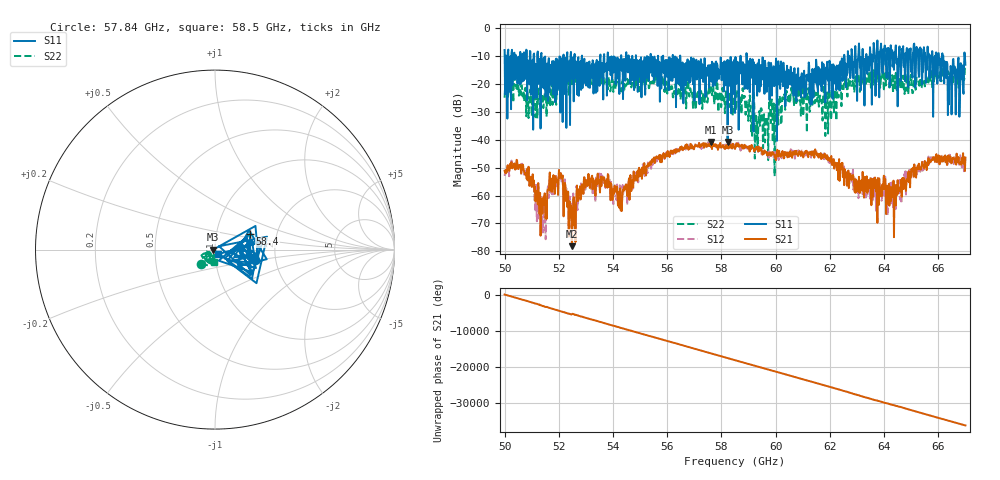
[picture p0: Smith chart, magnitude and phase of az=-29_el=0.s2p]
!Created with skrf (http://scikit-rf.org).
# GHz S RI R 50.0
!freq ReS11 ImS11 ReS21 ImS21 ReS12 ImS12 ReS22 ImS22
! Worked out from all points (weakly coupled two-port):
!   1001 points, 50 GHz to 67 GHz, reference 50 ohm
!   highest |S21| = -40.93 dB at 57.62 GHz (marker M1); lowest = -78.1 dB at 52.48 GHz (marker M2)
!   lowest |S11| = -40.8 dB at 58.23 GHz (marker M3), VSWR 1.02, Z = 49.1 + j0.0262 ohm
!   |S11| at or under -10 dB: 51.36 GHz to 52.17 GHz (808.4 MHz wide, 1.56 % of centre); 56.48 GHz to 58.92 GHz (2.446 GHz wide, 4.24 % of centre); 58.93 GHz to 62.53 GHz (3.599 GHz wide, 5.93 % of centre) (the widest 3 of 65)
!   |S22| runs from -53.1 to -13.3 dB; largest |S21 - S12| = 0.0023
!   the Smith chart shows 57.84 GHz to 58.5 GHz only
!   S11 on the Smith chart (normalised r, x): 57.84 GHz: 1.56, -0.19; 58.4 GHz: 1.46, +0.26; 58.5 GHz: 1.03, -0.05
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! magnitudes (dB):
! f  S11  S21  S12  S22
! 50 GHz  -8.0  -51.1  -52.9  -25.1
! 50.83 GHz  -25.9  -50.5  -51.6  -21.8
! 51.46 GHz  -21.9  -63.3  -62.1  -25.9
! 51.67 GHz  -14.3  -51.8  -55.9  -25.6
! 52.07 GHz  -10.8  -52.0  -53.5  -19.5
! 52.48 GHz  -14.8  -78.1  -69.8  -18.3
! 52.84 GHz  -11.2  -59.1  -57.7  -19.9
! 53.62 GHz  -15.0  -54.2  -55.5  -19.3
! 54.25 GHz  -13.9  -58.6  -56.3  -20.9
! 55.68 GHz  -13.7  -46.9  -47.1  -20.8
! 57.62 GHz  -16.9  -40.9  -41.7  -21.3
! 57.84 GHz  -12.8  -42.9  -41.8  -19.1
! 58.23 GHz  -40.8  -42.0  -41.2  -22.9
! 58.4 GHz  -13.5  -43.1  -43.3  -25.7
! 58.5 GHz  -30.5  -43.4  -41.8  -23.5
! 59.32 GHz  -24.3  -42.8  -43.1  -33.7
! 60.64 GHz  -16.0  -44.4  -44.9  -22.2
! 61.34 GHz  -27.3  -44.4  -44.2  -26.4
! 64.18 GHz  -12.0  -55.9  -55.8  -17.7
! 66.08 GHz  -19.1  -46.4  -47.3  -15.8
! 66.44 GHz  -19.0  -46.0  -47.7  -16.3
! 67 GHz  -13.3  -46.4  -47.5  -14.2
